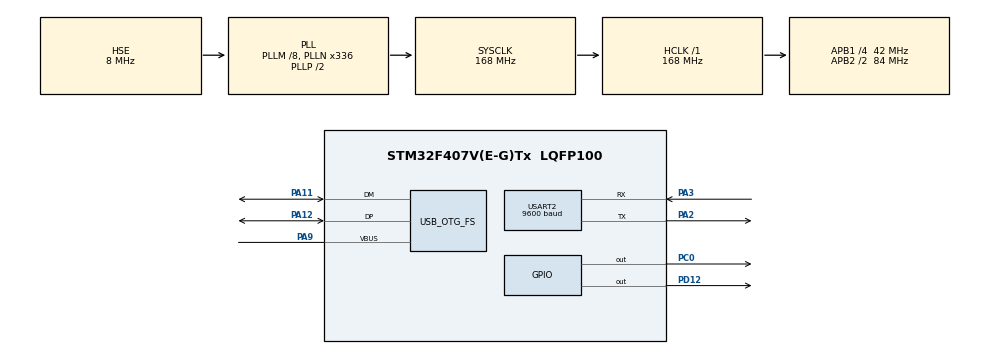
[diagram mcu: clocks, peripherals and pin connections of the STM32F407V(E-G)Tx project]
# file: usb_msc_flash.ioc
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FATFS._FS_EXFAT=1
FATFS._MAX_SS=4096
FATFS._USE_LFN=1
Mcu.Family=STM32F4
Mcu.Name=STM32F407V(E-G)Tx
Mcu.Package=LQFP100
NVIC.OTG_FS_IRQn=true\:0\:0\:false\:false\:true\:true\:true\:true
NVIC.PriorityGroup=NVIC_PRIORITYGROUP_0
PA11.Mode=Host_Only
PA11.Signal=USB_OTG_FS_DM
PA12.Mode=Host_Only
PA12.Signal=USB_OTG_FS_DP
PA2.Mode=Asynchronous
PA2.Signal=USART2_TX
PA3.Mode=Asynchronous
PA3.Signal=USART2_RX
PA9.Mode=Activate_VBUS
PA9.Signal=USB_OTG_FS_VBUS
PC0.Signal=GPIO_Output
PD12.Signal=GPIO_Output
PH0-OSC_IN.Mode=HSE-External-Oscillator
PH0-OSC_IN.Signal=RCC_OSC_IN
PH1-OSC_OUT.Mode=HSE-External-Oscillator
PH1-OSC_OUT.Signal=RCC_OSC_OUT
ProjectManager.HeapSize=0x200
ProjectManager.StackSize=0x400
ProjectManager.TargetToolchain=STM32CubeIDE
RCC.48MHZClocksFreq_Value=48000000
RCC.AHBFreq_Value=168000000
RCC.APB1CLKDivider=RCC_HCLK_DIV4
RCC.APB1Freq_Value=42000000
RCC.APB1TimFreq_Value=84000000
RCC.APB2CLKDivider=RCC_HCLK_DIV2
RCC.APB2Freq_Value=84000000
RCC.APB2TimFreq_Value=168000000
RCC.CortexFreq_Value=168000000
RCC.HCLKFreq_Value=168000000
RCC.HSE_VALUE=8000000
RCC.HSI_VALUE=16000000
RCC.PLLM=8
RCC.PLLN=336
RCC.PLLQ=7
RCC.SYSCLKFreq_VALUE=168000000
RCC.SYSCLKSource=RCC_SYSCLKSOURCE_PLLCLK
RCC.VCOOutputFreq_Value=336000000
USART2.BaudRate=9600
USART2.VirtualMode=VM_ASYNC
USB_HOST.BSP.number=1
USB_HOST.USBH_HandleTypeDef-MSC_FS=hUsbHostFS
USB_HOST.VirtualModeFS=Msc
USB_HOST0.BSP.STBoard=false
USB_HOST0.BSP.api=Unknown
USB_HOST0.BSP.condition=SW_VBUS_DRIVE_MSC_FS \= false
USB_HOST0.BSP.instance=PC0
USB_HOST0.BSP.ip=GPIO
USB_HOST0.BSP.mode=Output
USB_HOST0.BSP.name=Drive_VBUS_FS
USB_HOST0.BSP.solution=PC0
USB_OTG_FS.VirtualMode=Host_Only
USB_OTG_FS.phy_itface=HCD_PHY_EMBEDDED
VP_FATFS_VS_USB.Mode=USB
VP_USB_HOST_VS_USB_HOST_MSC_FS.Mode=MSC_FS
board=STM32F407G-DISC1

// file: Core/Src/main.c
/* USER CODE BEGIN Header */
/**
  ******************************************************************************
  * @file           : main.c
  * @brief          : Main program body
  ******************************************************************************
  * @attention
  *
  * Copyright (c) 2024 STMicroelectronics.
  * All rights reserved.
  *
  * This software is licensed under terms that can be found in the LICENSE file
  * in the root directory of this software component.
  * If no LICENSE file comes with this software, it is provided AS-IS.
  *
  ******************************************************************************
  */
/* USER CODE END Header */
#include "main.h"
#include "fatfs.h"
#include "usb_host.h"

/* USER CODE BEGIN Includes */
#include "File_Handling.h"
/* USER CODE END Includes */

UART_HandleTypeDef huart2;

/* USER CODE BEGIN PV */
int active_usb = 0;
/* USER CODE END PV */

void SystemClock_Config(void);
static void MX_GPIO_Init(void);
static void MX_USART2_UART_Init(void);
void MX_USB_HOST_Process(void);

int main(void)
{

  /* MCU Configuration--------------------------------------------------------*/

  /* Reset of all peripherals, Initializes the Flash interface and the Systick. */
  HAL_Init();

  /* Configure the system clock */
  SystemClock_Config();

  /* Initialize all configured peripherals */
  MX_GPIO_Init();
  MX_USB_HOST_Init();
  MX_USART2_UART_Init();
  MX_FATFS_Init();
  /* USER CODE BEGIN 2 */
  //needed for vbus
  HAL_GPIO_WritePin(GPIOC, GPIO_PIN_0, GPIO_PIN_RESET);
  /* USER CODE END 2 */

  /* Infinite loop */
  while (1)
  {
    MX_USB_HOST_Process();

    /* USER CODE BEGIN 3 */
    //assigned 1 on mounting to perform operations in main
    //if you have usb to ttl can see serial data while operations are performed
    if (active_usb == 1){
		Mount_USB(); //mount the usb
		Check_USB_Details(); //check usb details
		Scan_USB("/"); //scan all files on usb

		Create_File("/myfile.txt");
		Write_File("/myfile.txt", "This is my try\n");

		Create_Dir("/mydir");
		Create_File("/mydir/myfile.txt");
		Write_File("/mydir/myfile.txt", "This is my try\n");

		Update_File("/myfile.txt", "This is second line \n"); //this helps to append data

    	HAL_GPIO_WritePin(GPIOD, GPIO_PIN_12, GPIO_PIN_SET); //set light to indicate data transfer done
    	while(1); //stuck forever to not perform operations again
    }
    else
    	HAL_GPIO_WritePin(GPIOD, GPIO_PIN_12, GPIO_PIN_RESET);
  }
  /* USER CODE END 3 */
}

void SystemClock_Config(void)
{
  RCC_OscInitTypeDef RCC_OscInitStruct = {0};
  RCC_ClkInitTypeDef RCC_ClkInitStruct = {0};

  /** Configure the main internal regulator output voltage
  */
  __HAL_RCC_PWR_CLK_ENABLE();
  __HAL_PWR_VOLTAGESCALING_CONFIG(PWR_REGULATOR_VOLTAGE_SCALE1);

  /** Initializes the RCC Oscillators according to the specified parameters
  * in the RCC_OscInitTypeDef structure.
  */
  RCC_OscInitStruct.OscillatorType = RCC_OSCILLATORTYPE_HSE;
  RCC_OscInitStruct.HSEState = RCC_HSE_ON;
  RCC_OscInitStruct.PLL.PLLState = RCC_PLL_ON;
  RCC_OscInitStruct.PLL.PLLSource = RCC_PLLSOURCE_HSE;
  RCC_OscInitStruct.PLL.PLLM = 8;
  RCC_OscInitStruct.PLL.PLLN = 336;
  RCC_OscInitStruct.PLL.PLLP = RCC_PLLP_DIV2;
  RCC_OscInitStruct.PLL.PLLQ = 7;
  if (HAL_RCC_OscConfig(&RCC_OscInitStruct) != HAL_OK)
  {
    Error_Handler();
  }

  /** Initializes the CPU, AHB and APB buses clocks
  */
  RCC_ClkInitStruct.ClockType = RCC_CLOCKTYPE_HCLK|RCC_CLOCKTYPE_SYSCLK
                              |RCC_CLOCKTYPE_PCLK1|RCC_CLOCKTYPE_PCLK2;
  RCC_ClkInitStruct.SYSCLKSource = RCC_SYSCLKSOURCE_PLLCLK;
  RCC_ClkInitStruct.AHBCLKDivider = RCC_SYSCLK_DIV1;
  RCC_ClkInitStruct.APB1CLKDivider = RCC_HCLK_DIV4;
  RCC_ClkInitStruct.APB2CLKDivider = RCC_HCLK_DIV2;

  if (HAL_RCC_ClockConfig(&RCC_ClkInitStruct, FLASH_LATENCY_5) != HAL_OK)
  {
    Error_Handler();
  }
}

static void MX_USART2_UART_Init(void)
{

  huart2.Instance = USART2;
  huart2.Init.BaudRate = 9600;
  huart2.Init.WordLength = UART_WORDLENGTH_8B;
  huart2.Init.StopBits = UART_STOPBITS_1;
  huart2.Init.Parity = UART_PARITY_NONE;
  huart2.Init.Mode = UART_MODE_TX_RX;
  huart2.Init.HwFlowCtl = UART_HWCONTROL_NONE;
  huart2.Init.OverSampling = UART_OVERSAMPLING_16;
  if (HAL_UART_Init(&huart2) != HAL_OK)
  {
    Error_Handler();
  }

}

static void MX_GPIO_Init(void)
{
  GPIO_InitTypeDef GPIO_InitStruct = {0};

  /* GPIO Ports Clock Enable */
  __HAL_RCC_GPIOH_CLK_ENABLE();
  __HAL_RCC_GPIOC_CLK_ENABLE();
  __HAL_RCC_GPIOA_CLK_ENABLE();
  __HAL_RCC_GPIOD_CLK_ENABLE();

  /*Configure GPIO pin Output Level */
  HAL_GPIO_WritePin(GPIOC, GPIO_PIN_0, GPIO_PIN_RESET);

  /*Configure GPIO pin Output Level */
  HAL_GPIO_WritePin(GPIOD, GPIO_PIN_12, GPIO_PIN_RESET);

  /*Configure GPIO pin : PC0 */
  GPIO_InitStruct.Pin = GPIO_PIN_0;
  GPIO_InitStruct.Mode = GPIO_MODE_OUTPUT_PP;
  GPIO_InitStruct.Pull = GPIO_NOPULL;
  GPIO_InitStruct.Speed = GPIO_SPEED_FREQ_LOW;
  HAL_GPIO_Init(GPIOC, &GPIO_InitStruct);

  /*Configure GPIO pin : PD12 */
  GPIO_InitStruct.Pin = GPIO_PIN_12;
  GPIO_InitStruct.Mode = GPIO_MODE_OUTPUT_PP;
  GPIO_InitStruct.Pull = GPIO_NOPULL;
  GPIO_InitStruct.Speed = GPIO_SPEED_FREQ_LOW;
  HAL_GPIO_Init(GPIOD, &GPIO_InitStruct);

}

void Error_Handler(void)
{
  __disable_irq();
  while (1)
  {
  }
}
